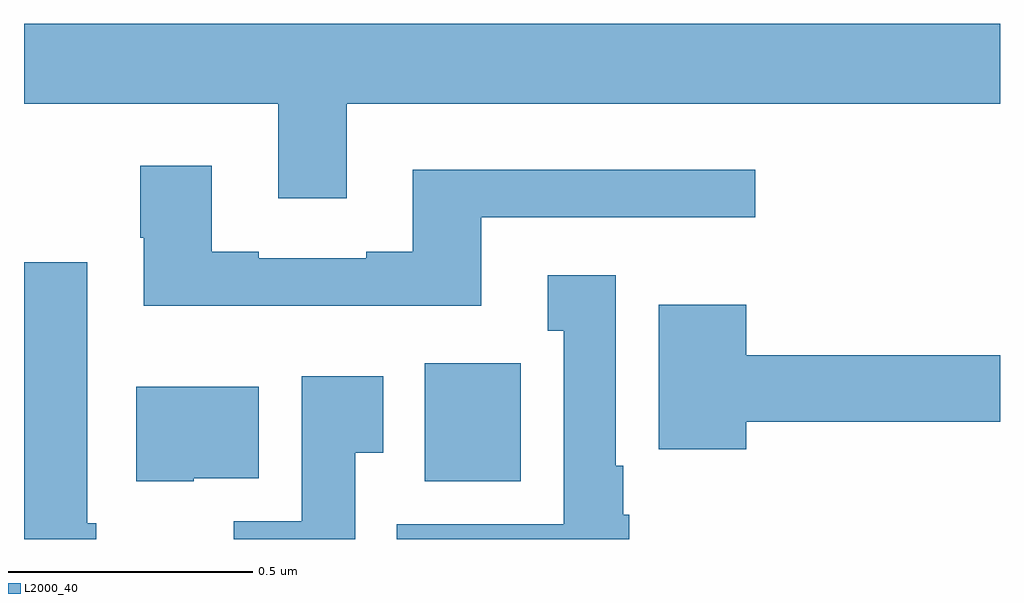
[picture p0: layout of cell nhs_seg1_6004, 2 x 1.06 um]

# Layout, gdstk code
import gdstk
lib = gdstk.Library(unit=1e-6, precision=1e-09)
def R(c, l, rs):  # rectangles x0, y0, x1, y1
    for r in rs: c.add(gdstk.rectangle(r[:2], r[2:], *l))
def P(c, l, *ps):  # polygons
    for p in ps: c.add(gdstk.Polygon(p, *l))
L2000_40 = (2000, 40)

nhs_seg1_6004 = lib.new_cell('nhs_seg1_6004')
R(nhs_seg1_6004, L2000_40, [(186.821,524.318,187.018,524.56)])
P(nhs_seg1_6004, L2000_40, [(186.661,525.092),(188,525.092),(188,525.256),(186,525.256),(186,525.092),(186.521,525.092),(186.521,524.898),(186.661,524.898)],
  [(186.937,524.859),(187.498,524.859),(187.498,524.956),(186.797,524.956),(186.797,524.788),(186.701,524.788),(186.701,524.775),(186.481,524.775),(186.481,524.788),(186.385,524.788),(186.385,524.965),(186.238,524.965),(186.238,524.817),(186.245,524.817),(186.245,524.678),(186.937,524.678)],
  [(186.148,524.232),(186.13,524.232),(186.13,524.767),(186,524.767),(186,524.199),(186.148,524.199)],
  [(187.24,524.25),(187.228,524.25),(187.228,524.35),(187.213,524.35),(187.213,524.74),(187.073,524.74),(187.073,524.627),(187.106,524.627),(187.106,524.23),(186.764,524.23),(186.764,524.199),(187.24,524.199)],
  [(187.48,524.44),(188,524.44),(188,524.576),(187.48,524.576),(187.48,524.68),(187.301,524.68),(187.301,524.384),(187.48,524.384)],
  [(186.679,524.377),(186.736,524.377),(186.736,524.533),(186.569,524.533),(186.569,524.236),(186.43,524.236),(186.43,524.199),(186.679,524.199)],
  [(186.348,524.324),(186.481,524.324),(186.481,524.512),(186.23,524.512),(186.23,524.318),(186.348,524.318)])

lib.write_gds('nhs_seg1_6004.gds')
